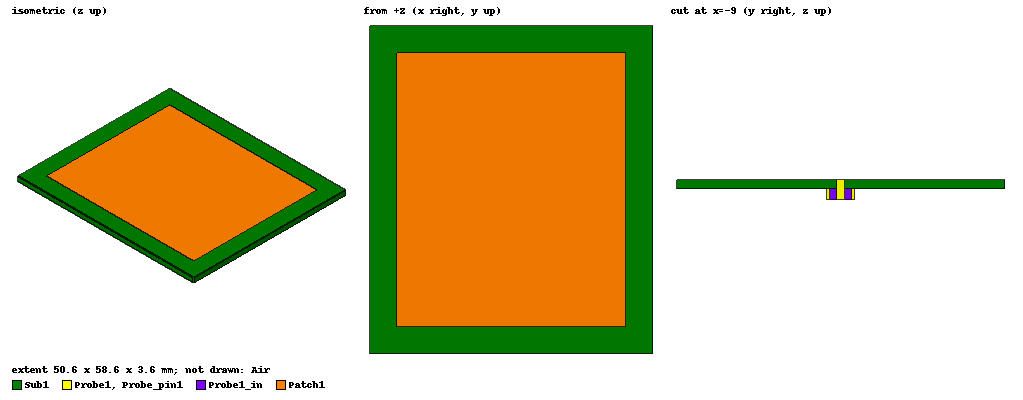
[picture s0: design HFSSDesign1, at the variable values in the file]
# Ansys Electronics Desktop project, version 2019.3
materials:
  vacuum: permittivity=1
  Rogers RT/duroid 5880 (tm): permittivity=2.2 dielectric_loss_tangent=0.0009
  pec: conductivity=1e+30
  Rogers RO4003 (tm): permittivity=3.55 dielectric_loss_tangent=0.0027
  air: permittivity=1.0006 permeability=1.0000004
  probefill: permittivity=1.9

design HFSSDesign1 (HFSS, DrivenModal, model units mm)
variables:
  Lp = 41mm  # optimise 1.961496581mm..5.884489743mm
  Wp = 49mm  # optimise 2.538622579mm..7.615867737mm
  hs = 1.6mm
  Ws = 6*hs+Wp
  Ls = 6*hs+Lp
  xsub = -Ls/2
  ysub = -Ws/2
  xfeed = 11.5mm  # optimise 0.4620027115mm..1.3860081345mm
  dp = 0.343834434mm  # optimise 0.19101913mm..0.57305739mm
  rcoax = 2.0125mm
  hcoax = 2mm
  rprope = 0.6375mm
  Lair = 3*Ls
  Wair = 3*Ws
  xair = Lair/2
  yair = Wair/2
  hair = 4*(hcoax+hs)
  yfeed = 24.5mm
  xp = -Lp/2
  yp = -Wp/2
  hgnd = -0.032mm
  X_TL_1 = 2.288307mm
  Y_TL_1 = 0.276146mm
  Y_TL_vertical = 3.105225mm
  rprope_out = 2.5mm
  rprope_out2 = 2.0125mm
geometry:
  Air [vacuum] = box(corner=(-xair, -yair, -hcoax), size=(Lair, Wair, hair))
  Sub1 [Rogers RT/duroid 5880 (tm)] = box(corner=(xsub, ysub, 0mm), size=(Ls, Ws, hs))
  Patch1 = rectangle(corner=(xp, yp, hs), x_size=Lp, y_size=Wp)
  Gnd_sheet = rectangle(corner=(xsub, ysub, 0mm), x_size=Ls, y_size=Ws)
  Gnd_sheet_cut = circle(normal=Z, centre=(xp+xfeed, yp+yfeed, 0mm), radius=rcoax)
  Gnd_sheet.subtract(Gnd_sheet_cut)
  Sub1_cut = cylinder(axis=Z, base_centre=(xp+xfeed, yp+yfeed, 0mm), radius=rprope, height=hs)
  Sub1.subtract(Sub1_cut)
  Probe1 [pec] = cylinder(axis=Z, base_centre=(xp+xfeed, yp+yfeed, -hcoax), radius=rprope_out, height=hcoax)
  Coax1_cut = cylinder(axis=Z, base_centre=(xp+xfeed, yp+yfeed, -hcoax), radius=rcoax, height=hcoax)
  Probe1.subtract(Coax1_cut)
  Probe1_in [probefill] = cylinder(axis=Z, base_centre=(xp+xfeed, yp+yfeed, -hcoax), radius=rcoax, height=hcoax)
  Probe1_in_cut = cylinder(axis=Z, base_centre=(xp+xfeed, yp+yfeed, -hcoax), radius=rprope, height=hcoax)
  Probe1_in.subtract(Probe1_in_cut)
  Probe_pin1 [pec] = cylinder(axis=Z, base_centre=(xp+xfeed, yp+yfeed, -hcoax), radius=rprope, height=hcoax+hs)
  Circle1 = circle(normal=Z, centre=(xp+xfeed, yp+yfeed, -hcoax), radius=rcoax)
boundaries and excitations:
  PerfE1: Perfect E Objects=Gnd_sheet
  PerfE2: Perfect E Objects=Patch1
  Rad1: Radiation Faces=Air.face(+y, +x, +z, -x, -y)
  1: Wave Port Objects=Circle1 NumModes=1 Modes{Mode1{IntLine{centre of Circle1.face -> Circle1.edge(1 of 1) at 0.25 along} CharImp=Zpi}}
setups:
  Setup1: HfssDriven Frequency=20GHz MaxDeltaS=0.02 MaximumPasses=20 MinimumPasses=1 MinimumConvergedPasses=1 PercentRefinement=30 BasisOrder=1 PortAccuracy=2
    sweep Sweep: 10GHz to 30GHz step 0.1GHz; Type=Fast SaveFields SaveRadFields
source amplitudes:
  1:1: 1W 0deg
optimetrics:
  OptimizationSetup1: Optimization Optimizer="Quasi Newton" AnalysisStopOptions{StopForNumIteration MaxNumIteration=1000 MinNumIteration=10} CostFuncNormType=L2 Acceptable_Cost=0 Noise=0.0001 UpdateDesignWhenDone
    vary Lp: Min=1.961496581mm Max=5.884489743mm MinStep=0.039229932mm MaxStep=0.39229932mm MinFocus=1.961496581mm MaxFocus=5.884489743mm start=4mm
    vary xfeed: Min=0.46200271mm Max=1.3860081mm MinStep=0.0092400542mm MaxStep=0.092400542mm MinFocus=0.46200271mm MaxFocus=1.3860081mm start=0.915806943mm
    goal dB(S(1,1)) <= -15 weight 5 on ? at Freq 20GHz
    goal mag(Z(1,1)) >= 20 weight 1 on ? at Freq 20GHz
    goal mag(Z(1,1)) >= 50 weight 1 on ? at Freq 20GHz
  ParametricSetup1: Parametric
    sweep Lp: LIN 1mm 5mm 1mm
    sweep Wp: LIN 1mm 10mm 1mm
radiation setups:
  Infinite Sphere1: Infinite Sphere Theta=-180deg..180deg step 1deg Phi=0deg..90deg step 90deg
